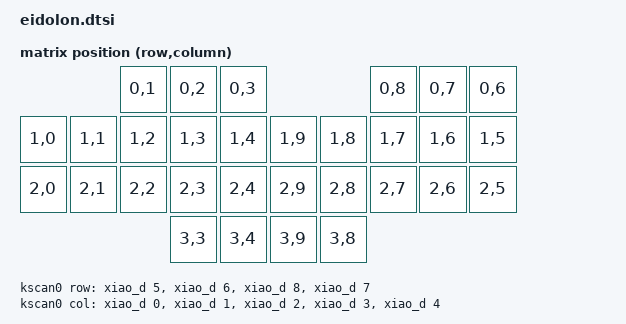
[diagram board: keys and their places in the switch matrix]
/*
 * Copyright (c) 2026 Jonny Irwin
 * SPDX-License-Identifier: MIT
 *
 * Wiring (mirrored boards, but each half is an independent wireless unit
 * with its own net->pin map -- the maps differ between halves):
 *   cols C0-C4 (pinky..inner) -> XIAO D0-D4   (both halves)
 *   LEFT  rows R0,R1,R2,R3 (top/home/bottom/thumb) -> D5, D6, D8, D7
 *   RIGHT rows R0,R1,R2,R3                          -> D10, D9, D8, D7
 *   COL2ROW diodes.
 *
 * This dtsi defines the LEFT row mapping in kscan0; the right overlay
 * overrides row-gpios to match the right board.
 */

#include <dt-bindings/zmk/matrix_transform.h>
#include "eidolon-layouts.dtsi"

&physical_layout0 {
    kscan = <&kscan0>;
    transform = <&default_transform>;
};

/ {
    chosen {
        zmk,physical-layout = &physical_layout0;
    };

    default_transform: keymap_transform0 {
        compatible = "zmk,matrix-transform";
        columns = <10>;
        rows = <4>;
        // Right half is a mirrored board, so its columns run inner..pinky
        // when read left-to-right; col-offset = <5> is set in the right overlay.
        map = <
                RC(0,1) RC(0,2) RC(0,3)                 RC(0,8) RC(0,7) RC(0,6)
RC(1,0) RC(1,1) RC(1,2) RC(1,3) RC(1,4) RC(1,9) RC(1,8) RC(1,7) RC(1,6) RC(1,5)
RC(2,0) RC(2,1) RC(2,2) RC(2,3) RC(2,4) RC(2,9) RC(2,8) RC(2,7) RC(2,6) RC(2,5)
                        RC(3,3) RC(3,4) RC(3,9) RC(3,8)
        >;
    };

    kscan0: kscan0 {
        compatible = "zmk,kscan-gpio-matrix";
        wakeup-source;

        diode-direction = "col2row";

        col-gpios
            = <&xiao_d 0 GPIO_ACTIVE_HIGH>
            , <&xiao_d 1 GPIO_ACTIVE_HIGH>
            , <&xiao_d 2 GPIO_ACTIVE_HIGH>
            , <&xiao_d 3 GPIO_ACTIVE_HIGH>
            , <&xiao_d 4 GPIO_ACTIVE_HIGH>
            ;

        // LEFT half: R0,R1,R2,R3 -> D5, D6, D8, D7 (right overlay overrides this)
        row-gpios
            = <&xiao_d 5 (GPIO_ACTIVE_HIGH | GPIO_PULL_DOWN)>
            , <&xiao_d 6 (GPIO_ACTIVE_HIGH | GPIO_PULL_DOWN)>
            , <&xiao_d 8 (GPIO_ACTIVE_HIGH | GPIO_PULL_DOWN)>
            , <&xiao_d 7 (GPIO_ACTIVE_HIGH | GPIO_PULL_DOWN)>
            ;
    };
};
